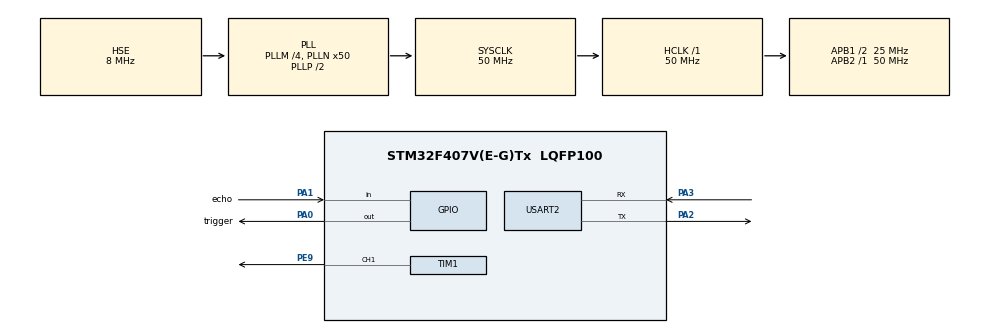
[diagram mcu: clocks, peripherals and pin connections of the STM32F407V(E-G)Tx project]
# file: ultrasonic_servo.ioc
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Mcu.Family=STM32F4
Mcu.Name=STM32F407V(E-G)Tx
Mcu.Package=LQFP100
NVIC.PriorityGroup=NVIC_PRIORITYGROUP_4
PA0-WKUP.GPIO_Label=trigger
PA0-WKUP.Signal=GPIO_Output
PA1.GPIO_Label=echo
PA1.Signal=GPIO_Input
PA2.Mode=Asynchronous
PA2.Signal=USART2_TX
PA3.Mode=Asynchronous
PA3.Signal=USART2_RX
PE9.Signal=S_TIM1_CH1
PH0-OSC_IN.Mode=HSE-External-Oscillator
PH0-OSC_IN.Signal=RCC_OSC_IN
PH1-OSC_OUT.Mode=HSE-External-Oscillator
PH1-OSC_OUT.Signal=RCC_OSC_OUT
ProjectManager.HeapSize=0x200
ProjectManager.StackSize=0x400
ProjectManager.TargetToolchain=STM32CubeIDE
RCC.48MHZClocksFreq_Value=25000000
RCC.AHBFreq_Value=50000000
RCC.APB1CLKDivider=RCC_HCLK_DIV2
RCC.APB1Freq_Value=25000000
RCC.APB1TimFreq_Value=50000000
RCC.APB2Freq_Value=50000000
RCC.APB2TimFreq_Value=50000000
RCC.CortexFreq_Value=50000000
RCC.HCLKFreq_Value=50000000
RCC.HSE_VALUE=8000000
RCC.HSI_VALUE=16000000
RCC.LSE_VALUE=32768
RCC.PLLM=4
RCC.PLLN=50
RCC.PLLSourceVirtual=RCC_PLLSOURCE_HSE
RCC.SYSCLKFreq_VALUE=50000000
RCC.SYSCLKSource=RCC_SYSCLKSOURCE_PLLCLK
RCC.VCOOutputFreq_Value=100000000
SH.S_TIM1_CH1.0=TIM1_CH1,PWM Generation1 CH1
TIM1.Channel-PWM\ Generation1\ CH1=TIM_CHANNEL_1
TIM1.Period=1000-1
TIM1.Prescaler=1000-1
TIM6.Period=0xffff-1
TIM6.Prescaler=50-1
USART2.VirtualMode=VM_ASYNC
VP_TIM1_VS_ClockSourceINT.Mode=Internal
VP_TIM6_VS_ClockSourceINT.Mode=Enable_Timer
board=custom

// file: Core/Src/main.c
/* USER CODE BEGIN Header */
/**
  ******************************************************************************
  * @file           : main.c
  * @brief          : Main program body
  ******************************************************************************
  * @attention
  *
  * Copyright (c) 2025 STMicroelectronics.
  * All rights reserved.
  *
  * This software is licensed under terms that can be found in the LICENSE file
  * in the root directory of this software component.
  * If no LICENSE file comes with this software, it is provided AS-IS.
  *
  ******************************************************************************
  */
/* USER CODE END Header */
#include "main.h"

/* USER CODE BEGIN Includes */
#include "stdio.h"
#include "string.h"
#include <stdlib.h>
/* USER CODE END Includes */

TIM_HandleTypeDef htim1;
TIM_HandleTypeDef htim6;

UART_HandleTypeDef huart2;

/* USER CODE BEGIN PV */
uint16_t current_servo_position = 20;
#define MIN_VALID_DISTANCE 2.0
#define MAX_VALID_DISTANCE 200.0
#define MIN_SERVO_POSITION 20
#define MAX_SERVO_POSITION 170
#define SERVO_STEP_SIZE 5
double last_valid_distance = 30.0;
/* USER CODE END PV */

void SystemClock_Config(void);
static void MX_GPIO_Init(void);
static void MX_TIM1_Init(void);
static void MX_TIM6_Init(void);
static void MX_USART2_UART_Init(void);

/* USER CODE BEGIN 0 */
static void delay_us(uint16_t us){
    __HAL_TIM_SET_COUNTER(&htim6, 0);
    HAL_TIM_Base_Start(&htim6);
    while (__HAL_TIM_GET_COUNTER(&htim6) < us);
    HAL_TIM_Base_Stop(&htim6);
}

void start_ultrason(){
    HAL_GPIO_WritePin(trigger_GPIO_Port, trigger_Pin, GPIO_PIN_RESET);
    delay_us(2);
    HAL_GPIO_WritePin(trigger_GPIO_Port, trigger_Pin, GPIO_PIN_SET);
    delay_us(10);
    HAL_GPIO_WritePin(trigger_GPIO_Port, trigger_Pin, GPIO_PIN_RESET);
    delay_us(20);
}

double distance() {
    uint32_t time = 0;
    uint32_t timeout = 1000;

    while(HAL_GPIO_ReadPin(echo_GPIO_Port, echo_Pin) == GPIO_PIN_RESET) {
        if (++time > timeout) return last_valid_distance;
        delay_us(1);
    }

    time = 0;
    timeout = 10000;

    while (HAL_GPIO_ReadPin(echo_GPIO_Port, echo_Pin) == GPIO_PIN_SET) {
        ++time;
        delay_us(1);
        if (time > timeout) break;
    }

    double measured_distance = (time / 10.0);
    if (measured_distance < MIN_VALID_DISTANCE || measured_distance > MAX_VALID_DISTANCE) {
        return last_valid_distance;
    }

    last_valid_distance = measured_distance;
    return measured_distance;
}

uint16_t move_servo_toward(uint16_t current, uint16_t target) {
    if (current < target) {
        return current + SERVO_STEP_SIZE > target ? target : current + SERVO_STEP_SIZE;
    } else if (current > target) {
        return current - SERVO_STEP_SIZE < target ? target : current - SERVO_STEP_SIZE;
    }
    return current;
}
/* USER CODE END 0 */

int main(void)
{

  /* MCU Configuration--------------------------------------------------------*/

  /* Reset of all peripherals, Initializes the Flash interface and the Systick. */
  HAL_Init();

  /* Configure the system clock */
  SystemClock_Config();

  /* Initialize all configured peripherals */
  MX_GPIO_Init();
  MX_TIM1_Init();
  MX_TIM6_Init();
  MX_USART2_UART_Init();
  /* USER CODE BEGIN 2 */
  HAL_TIM_PWM_Start(&htim1, TIM_CHANNEL_1);
  /* USER CODE END 2 */

  /* Infinite loop */
  while (1)
  {

    /* USER CODE BEGIN 3 */
    start_ultrason();
    double dist = distance();

    uint16_t target_position;
    if (dist < 5.0) {
        target_position = MIN_SERVO_POSITION;
    } else if (dist > 30.0) {
        target_position = MAX_SERVO_POSITION;
    } else {
        target_position = MIN_SERVO_POSITION + (dist - 5.0) * (MAX_SERVO_POSITION - MIN_SERVO_POSITION) / 25.0;
    }

    current_servo_position = move_servo_toward(current_servo_position, target_position);

    htim1.Instance->CCR1 = current_servo_position;

    char buffer[100];
    snprintf(buffer, sizeof(buffer), "Dist: %.1fcm, Pos: %d, Angle: %.0f°\r\n",
            dist, current_servo_position,
            (current_servo_position - 10) * 180.0 / 160.0);
    HAL_UART_Transmit(&huart2, (uint8_t*)buffer, strlen(buffer), 50);

    HAL_Delay(current_servo_position == target_position ? 100 : 20);
  }
  /* USER CODE END 3 */
}

void SystemClock_Config(void)
{
  RCC_OscInitTypeDef RCC_OscInitStruct = {0};
  RCC_ClkInitTypeDef RCC_ClkInitStruct = {0};

  /** Configure the main internal regulator output voltage
  */
  __HAL_RCC_PWR_CLK_ENABLE();
  __HAL_PWR_VOLTAGESCALING_CONFIG(PWR_REGULATOR_VOLTAGE_SCALE1);

  /** Initializes the RCC Oscillators according to the specified parameters
  * in the RCC_OscInitTypeDef structure.
  */
  RCC_OscInitStruct.OscillatorType = RCC_OSCILLATORTYPE_HSE;
  RCC_OscInitStruct.HSEState = RCC_HSE_ON;
  RCC_OscInitStruct.PLL.PLLState = RCC_PLL_ON;
  RCC_OscInitStruct.PLL.PLLSource = RCC_PLLSOURCE_HSE;
  RCC_OscInitStruct.PLL.PLLM = 4;
  RCC_OscInitStruct.PLL.PLLN = 50;
  RCC_OscInitStruct.PLL.PLLP = RCC_PLLP_DIV2;
  RCC_OscInitStruct.PLL.PLLQ = 4;
  if (HAL_RCC_OscConfig(&RCC_OscInitStruct) != HAL_OK)
  {
    Error_Handler();
  }

  /** Initializes the CPU, AHB and APB buses clocks
  */
  RCC_ClkInitStruct.ClockType = RCC_CLOCKTYPE_HCLK|RCC_CLOCKTYPE_SYSCLK
                              |RCC_CLOCKTYPE_PCLK1|RCC_CLOCKTYPE_PCLK2;
  RCC_ClkInitStruct.SYSCLKSource = RCC_SYSCLKSOURCE_PLLCLK;
  RCC_ClkInitStruct.AHBCLKDivider = RCC_SYSCLK_DIV1;
  RCC_ClkInitStruct.APB1CLKDivider = RCC_HCLK_DIV2;
  RCC_ClkInitStruct.APB2CLKDivider = RCC_HCLK_DIV1;

  if (HAL_RCC_ClockConfig(&RCC_ClkInitStruct, FLASH_LATENCY_1) != HAL_OK)
  {
    Error_Handler();
  }
}

static void MX_TIM1_Init(void)
{

  TIM_ClockConfigTypeDef sClockSourceConfig = {0};
  TIM_MasterConfigTypeDef sMasterConfig = {0};
  TIM_OC_InitTypeDef sConfigOC = {0};
  TIM_BreakDeadTimeConfigTypeDef sBreakDeadTimeConfig = {0};

  htim1.Instance = TIM1;
  htim1.Init.Prescaler = 1000-1;
  htim1.Init.CounterMode = TIM_COUNTERMODE_UP;
  htim1.Init.Period = 1000-1;
  htim1.Init.ClockDivision = TIM_CLOCKDIVISION_DIV1;
  htim1.Init.RepetitionCounter = 0;
  htim1.Init.AutoReloadPreload = TIM_AUTORELOAD_PRELOAD_DISABLE;
  if (HAL_TIM_Base_Init(&htim1) != HAL_OK)
  {
    Error_Handler();
  }
  sClockSourceConfig.ClockSource = TIM_CLOCKSOURCE_INTERNAL;
  if (HAL_TIM_ConfigClockSource(&htim1, &sClockSourceConfig) != HAL_OK)
  {
    Error_Handler();
  }
  if (HAL_TIM_PWM_Init(&htim1) != HAL_OK)
  {
    Error_Handler();
  }
  sMasterConfig.MasterOutputTrigger = TIM_TRGO_RESET;
  sMasterConfig.MasterSlaveMode = TIM_MASTERSLAVEMODE_DISABLE;
  if (HAL_TIMEx_MasterConfigSynchronization(&htim1, &sMasterConfig) != HAL_OK)
  {
    Error_Handler();
  }
  sConfigOC.OCMode = TIM_OCMODE_PWM1;
  sConfigOC.Pulse = 0;
  sConfigOC.OCPolarity = TIM_OCPOLARITY_HIGH;
  sConfigOC.OCNPolarity = TIM_OCNPOLARITY_HIGH;
  sConfigOC.OCFastMode = TIM_OCFAST_DISABLE;
  sConfigOC.OCIdleState = TIM_OCIDLESTATE_RESET;
  sConfigOC.OCNIdleState = TIM_OCNIDLESTATE_RESET;
  if (HAL_TIM_PWM_ConfigChannel(&htim1, &sConfigOC, TIM_CHANNEL_1) != HAL_OK)
  {
    Error_Handler();
  }
  sBreakDeadTimeConfig.OffStateRunMode = TIM_OSSR_DISABLE;
  sBreakDeadTimeConfig.OffStateIDLEMode = TIM_OSSI_DISABLE;
  sBreakDeadTimeConfig.LockLevel = TIM_LOCKLEVEL_OFF;
  sBreakDeadTimeConfig.DeadTime = 0;
  sBreakDeadTimeConfig.BreakState = TIM_BREAK_DISABLE;
  sBreakDeadTimeConfig.BreakPolarity = TIM_BREAKPOLARITY_HIGH;
  sBreakDeadTimeConfig.AutomaticOutput = TIM_AUTOMATICOUTPUT_DISABLE;
  if (HAL_TIMEx_ConfigBreakDeadTime(&htim1, &sBreakDeadTimeConfig) != HAL_OK)
  {
    Error_Handler();
  }
  HAL_TIM_MspPostInit(&htim1);

}

static void MX_TIM6_Init(void)
{

  TIM_MasterConfigTypeDef sMasterConfig = {0};

  htim6.Instance = TIM6;
  htim6.Init.Prescaler = 50-1;
  htim6.Init.CounterMode = TIM_COUNTERMODE_UP;
  htim6.Init.Period = 0xffff-1;
  htim6.Init.AutoReloadPreload = TIM_AUTORELOAD_PRELOAD_DISABLE;
  if (HAL_TIM_Base_Init(&htim6) != HAL_OK)
  {
    Error_Handler();
  }
  sMasterConfig.MasterOutputTrigger = TIM_TRGO_RESET;
  sMasterConfig.MasterSlaveMode = TIM_MASTERSLAVEMODE_DISABLE;
  if (HAL_TIMEx_MasterConfigSynchronization(&htim6, &sMasterConfig) != HAL_OK)
  {
    Error_Handler();
  }

}

static void MX_USART2_UART_Init(void)
{

  huart2.Instance = USART2;
  huart2.Init.BaudRate = 115200;
  huart2.Init.WordLength = UART_WORDLENGTH_8B;
  huart2.Init.StopBits = UART_STOPBITS_1;
  huart2.Init.Parity = UART_PARITY_NONE;
  huart2.Init.Mode = UART_MODE_TX_RX;
  huart2.Init.HwFlowCtl = UART_HWCONTROL_NONE;
  huart2.Init.OverSampling = UART_OVERSAMPLING_16;
  if (HAL_UART_Init(&huart2) != HAL_OK)
  {
    Error_Handler();
  }

}

static void MX_GPIO_Init(void)
{
  GPIO_InitTypeDef GPIO_InitStruct = {0};

  /* GPIO Ports Clock Enable */
  __HAL_RCC_GPIOH_CLK_ENABLE();
  __HAL_RCC_GPIOA_CLK_ENABLE();
  __HAL_RCC_GPIOE_CLK_ENABLE();

  /*Configure GPIO pin Output Level */
  HAL_GPIO_WritePin(trigger_GPIO_Port, trigger_Pin, GPIO_PIN_RESET);

  /*Configure GPIO pin : trigger_Pin */
  GPIO_InitStruct.Pin = trigger_Pin;
  GPIO_InitStruct.Mode = GPIO_MODE_OUTPUT_PP;
  GPIO_InitStruct.Pull = GPIO_NOPULL;
  GPIO_InitStruct.Speed = GPIO_SPEED_FREQ_LOW;
  HAL_GPIO_Init(trigger_GPIO_Port, &GPIO_InitStruct);

  /*Configure GPIO pin : echo_Pin */
  GPIO_InitStruct.Pin = echo_Pin;
  GPIO_InitStruct.Mode = GPIO_MODE_INPUT;
  GPIO_InitStruct.Pull = GPIO_NOPULL;
  HAL_GPIO_Init(echo_GPIO_Port, &GPIO_InitStruct);

}

void Error_Handler(void)
{
  __disable_irq();
  while (1)
  {
  }
}
